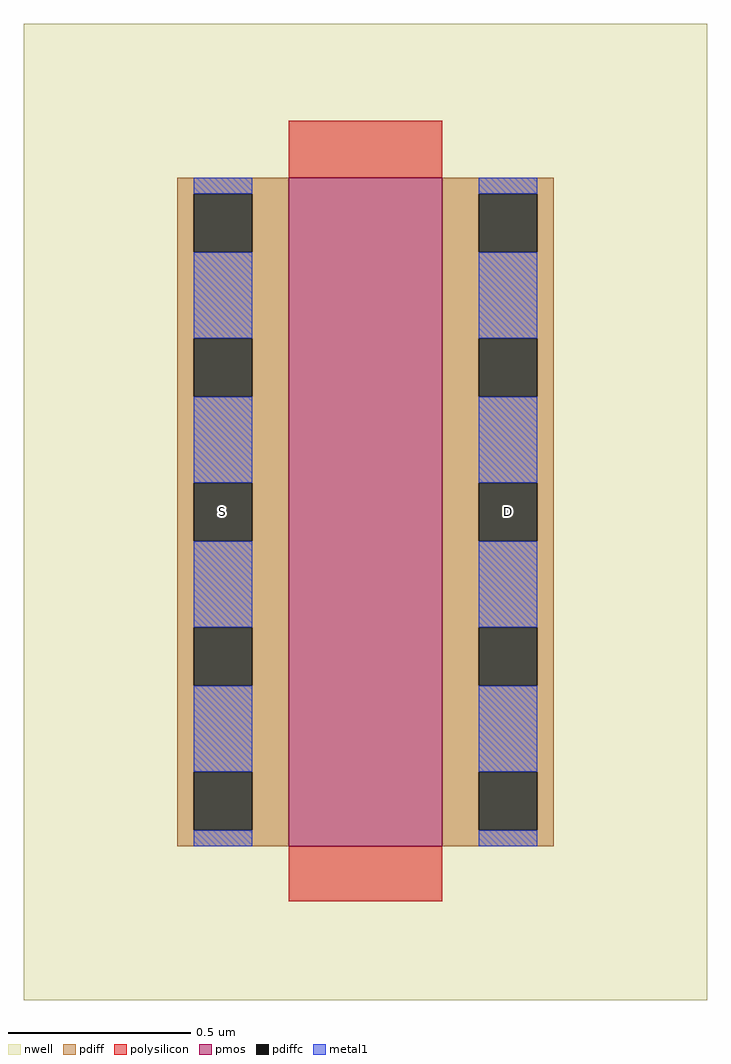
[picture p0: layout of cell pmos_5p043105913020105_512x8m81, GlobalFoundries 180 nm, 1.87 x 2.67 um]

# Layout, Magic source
magic
tech gf180mcuD
magscale 1 10
<< nwell >>
rect -145 -84 229 450
<< pmos >>
rect 0 0 84 366
<< pdiff >>
rect -61 357 0 366
rect -61 325 -52 357
rect -20 325 0 357
rect -61 278 0 325
rect -61 246 -52 278
rect -20 246 0 278
rect -61 199 0 246
rect -61 167 -52 199
rect -20 167 0 199
rect -61 120 0 167
rect -61 88 -52 120
rect -20 88 0 120
rect -61 41 0 88
rect -61 9 -52 41
rect -20 9 0 41
rect -61 0 0 9
rect 84 357 145 366
rect 84 325 104 357
rect 136 325 145 357
rect 84 278 145 325
rect 84 246 104 278
rect 136 246 145 278
rect 84 199 145 246
rect 84 167 104 199
rect 136 167 145 199
rect 84 120 145 167
rect 84 88 104 120
rect 136 88 145 120
rect 84 41 145 88
rect 84 9 104 41
rect 136 9 145 41
rect 84 0 145 9
<< pdiffc >>
rect -52 325 -20 357
rect -52 246 -20 278
rect -52 167 -20 199
rect -52 88 -20 120
rect -52 9 -20 41
rect 104 325 136 357
rect 104 246 136 278
rect 104 167 136 199
rect 104 88 136 120
rect 104 9 136 41
<< polysilicon >>
rect 0 366 84 397
rect 0 -30 84 0
<< metal1 >>
rect -52 357 -20 366
rect -52 278 -20 325
rect -52 199 -20 246
rect -52 120 -20 167
rect -52 41 -20 88
rect -52 0 -20 9
rect 104 357 136 366
rect 104 278 136 325
rect 104 199 136 246
rect 104 120 136 167
rect 104 41 136 88
rect 104 0 136 9
<< labels >>
flabel pdiffc -36 183 -36 183 0 FreeSans 280 0 0 0 S
flabel pdiffc 120 183 120 183 0 FreeSans 280 0 0 0 D
<< end >>
